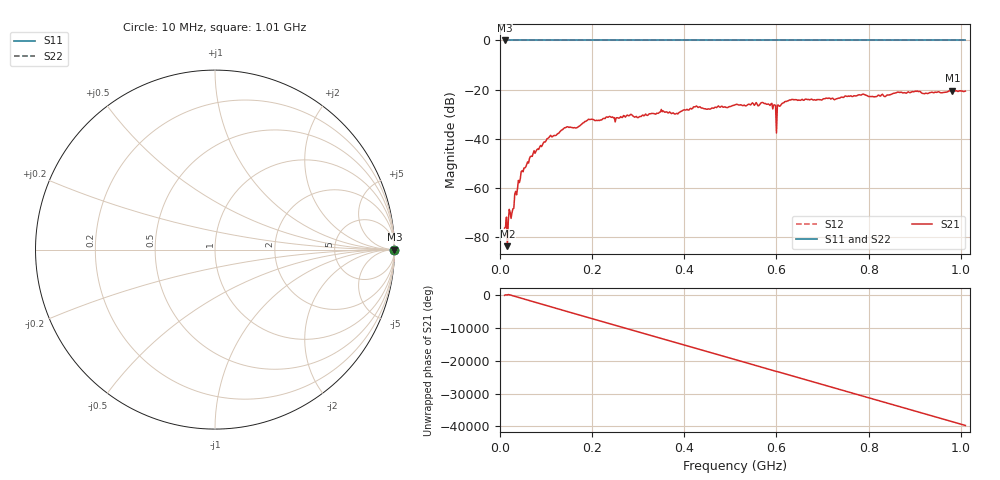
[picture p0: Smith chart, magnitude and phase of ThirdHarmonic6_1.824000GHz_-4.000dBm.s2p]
! 8/16/2025 10:05:49 PM
! C:\ANRITSUVNA\TEMP\TEMP.S2P
! CHANNEL.1
! TR.MEASUREMENT
! RAW.DATA
! RF.CORRECTION.OFF
! AVERAGING.OFF
! IF.BANDWIDTH: 5KHZ
! SWEEPTYPE:  FREQ.SWEEP(Linear)
! Reference Plane Port Info
! PORT:  PORT1  PORT2
! DISTANCE:  0  m  0  m
! TIME:  0  s  0  s
! PHASE.OFFSET:  0  deg.  0  deg.
! LOSS:  0  dB  0  dB
! REF.LOSS:  0  dB  0  dB
! REF.FREQ:  0  Hz  0  Hz
! Power Info
! POWER:  -20  dBm  -20  dBm
! EFF.POWER:  -20  dBm  -20  dBm
! SOURCE.ATTEN:  0  dB  0  dB
! TEST.ATTEN:  0  dB  0  dB
# GHZ S RI R 50.0
! FREQ.GHZ  S11RE  S11IM  S21RE  S21IM  S12RE  S12IM  S22RE  S22IM
!; PortSelection: Port_12
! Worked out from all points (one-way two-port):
!   501 points, 10 MHz to 1.01 GHz, reference 50 ohm
!   highest |S21| = -20.36 dB at 982 MHz (marker M1); lowest = -83.7 dB at 16 MHz (marker M2)
!   lowest |S11| = 0.0 dB at 10 MHz (marker M3)
!   |S11| at or under -10 dB: nowhere
!   |S22| runs from 0.0 to 0.0 dB; largest |S21 - S12| = 1.1
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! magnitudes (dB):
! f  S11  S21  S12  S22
! 10 MHz  0.0  -76.3  0.0  0.0
! 12 MHz  0.0  -75.8  0.0  0.0
! 16 MHz  0.0  -83.7  0.0  0.0
! 26 MHz  0.0  -70.0  0.0  0.0
! 44 MHz  0.0  -56.3  0.0  0.0
! 70 MHz  0.0  -47.1  0.0  0.0
! 106 MHz  0.0  -39.5  0.0  0.0
! 142 MHz  0.0  -35.5  0.0  0.0
! 178 MHz  0.0  -34.0  0.0  0.0
! 196 MHz  0.0  -32.1  0.0  0.0
! 344 MHz  0.0  -29.6  0.0  0.0
! 382 MHz  0.0  -29.8  0.0  0.0
! 424 MHz  0.0  -27.0  0.0  0.0
! 510 MHz  0.0  -26.2  0.0  0.0
! 572 MHz  0.0  -25.5  0.0  0.0
! 594 MHz  0.0  -26.3  0.0  0.0
! 596 MHz  0.0  -26.2  0.0  0.0
! 630 MHz  0.0  -24.2  0.0  0.0
! 678 MHz  0.0  -24.1  0.0  0.0
! 844 MHz  0.0  -22.2  0.0  0.0
! 982 MHz  0.0  -20.4  0.0  0.0
! 1.01 GHz  0.0  -20.6  0.0  0.0
